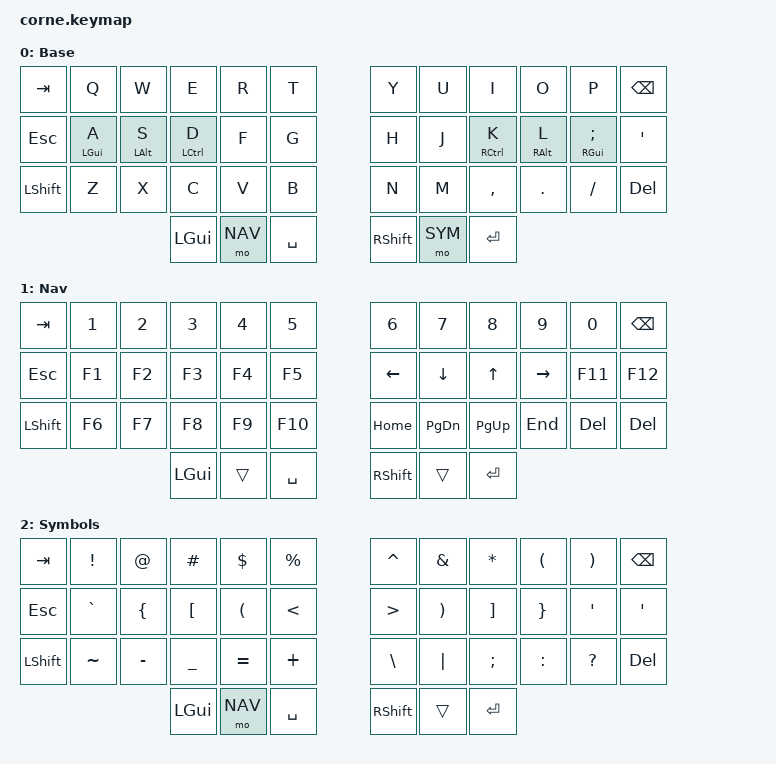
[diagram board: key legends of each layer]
/*
 * Copyright (c) 2020 The ZMK Contributors
 * SPDX-License-Identifier: MIT
 */

#include <behaviors.dtsi>
#include <dt-bindings/zmk/keys.h>
#include <dt-bindings/zmk/bt.h>

#define BASE 0
#define NAV  1
#define SYM  2

#define LEFT_HAND  0 1 2 3 4 5  12 13 14 15 16 17  24 25 26 27 28 29  36 37 38
#define RIGHT_HAND 6 7 8 9 10 11  18 19 20 21 22 23  30 31 32 33 34 35  39 40 41

/ {
        behaviors {
                hml: home_row_mod_left {
                        compatible = "zmk,behavior-hold-tap";
                        #binding-cells = <2>;
                        flavor = "balanced";
                        tapping-term-ms = <280>;
                        quick-tap-ms = <175>;
                        require-prior-idle-ms = <150>;
                        bindings = <&kp>, <&kp>;
                        hold-trigger-key-positions = <RIGHT_HAND>;
                        hold-trigger-on-release;
                        display-name = "Left Home Row Mod";
                };

                hmr: home_row_mod_right {
                        compatible = "zmk,behavior-hold-tap";
                        #binding-cells = <2>;
                        flavor = "balanced";
                        tapping-term-ms = <280>;
                        quick-tap-ms = <175>;
                        require-prior-idle-ms = <150>;
                        bindings = <&kp>, <&kp>;
                        hold-trigger-key-positions = <LEFT_HAND>;
                        hold-trigger-on-release;
                        display-name = "Right Home Row Mod";
                };
        };

        /*
         * NAV-only combos
         *
         * Bluetooth:
         *   1 + 2     -> Bluetooth profile 0
         *   2 + 3     -> Bluetooth profile 1
         *   3 + 4     -> Bluetooth profile 2
         *   4 + 5     -> Bluetooth profile 3
         *   6 + 7     -> Bluetooth profile 4
         *   8 + 9 + 0 -> Clear current Bluetooth profile
         *
         * Playback:
         *   H + J     -> Previous
         *   J + K     -> Play/Pause
         *   K + L     -> Next
         *
         * Media:
         *   N + M     -> Brightness Down
         *   M + ,     -> Volume Down
         *   , + .     -> Volume Up
         *   . + /     -> Brightness Up
         *   / + Del   -> Mute
         */
        combos {
                compatible = "zmk,combos";

                /*
                 * Bluetooth profiles
                 *
                 * These correspond to the physical top-row positions.
                 * Since they are limited to NAV, they trigger while the
                 * number row is active.
                 */

                combo_bt_0 {
                        timeout-ms = <50>;
                        key-positions = <1 2>;
                        layers = <NAV>;
                        bindings = <&bt BT_SEL 0>;
                };

                combo_bt_1 {
                        timeout-ms = <50>;
                        key-positions = <2 3>;
                        layers = <NAV>;
                        bindings = <&bt BT_SEL 1>;
                };

                combo_bt_2 {
                        timeout-ms = <50>;
                        key-positions = <3 4>;
                        layers = <NAV>;
                        bindings = <&bt BT_SEL 2>;
                };

                combo_bt_3 {
                        timeout-ms = <50>;
                        key-positions = <4 5>;
                        layers = <NAV>;
                        bindings = <&bt BT_SEL 3>;
                };

                combo_bt_4 {
                        timeout-ms = <50>;
                        key-positions = <6 7>;
                        layers = <NAV>;
                        bindings = <&bt BT_SEL 4>;
                };

                /*
                 * Intentionally requires three keys to make clearing
                 * a Bluetooth profile difficult to do accidentally.
                 */
                combo_bt_clear {
                        timeout-ms = <75>;
                        key-positions = <8 9 10>;
                        layers = <NAV>;
                        bindings = <&bt BT_CLR>;
                };


                /*
                 * Playback controls
                 *
                 * Physical H J K L positions on the right home row.
                 *
                 * NAV bindings:
                 * H = Left
                 * J = Down
                 * K = Up
                 * L = Right
                 */

                combo_previous {
                        timeout-ms = <50>;
                        key-positions = <18 19>;
                        layers = <NAV>;
                        bindings = <&kp C_PREV>;
                };

                combo_play_pause {
                        timeout-ms = <50>;
                        key-positions = <19 20>;
                        layers = <NAV>;
                        bindings = <&kp C_PP>;
                };

                combo_next {
                        timeout-ms = <50>;
                        key-positions = <20 21>;
                        layers = <NAV>;
                        bindings = <&kp C_NEXT>;
                };


                /*
                 * Volume / brightness controls
                 *
                 * Physical:
                 *
                 * N + M     = Brightness Down
                 * M + ,     = Volume Down
                 * , + .     = Volume Up
                 * . + /     = Brightness Up
                 * / + Del   = Mute
                 */

                combo_brightness_down {
                        timeout-ms = <50>;
                        key-positions = <30 31>;
                        layers = <NAV>;
                        bindings = <&kp C_BRI_DN>;
                };

                combo_volume_down {
                        timeout-ms = <50>;
                        key-positions = <31 32>;
                        layers = <NAV>;
                        bindings = <&kp C_VOL_DN>;
                };

                combo_volume_up {
                        timeout-ms = <50>;
                        key-positions = <32 33>;
                        layers = <NAV>;
                        bindings = <&kp C_VOL_UP>;
                };

                combo_brightness_up {
                        timeout-ms = <50>;
                        key-positions = <33 34>;
                        layers = <NAV>;
                        bindings = <&kp C_BRI_UP>;
                };

                combo_mute {
                        timeout-ms = <50>;
                        key-positions = <34 35>;
                        layers = <NAV>;
                        bindings = <&kp C_MUTE>;
                };
        };


        keymap {
                compatible = "zmk,keymap";

                /*
                 * ==========================================================
                 * BASE
                 * ==========================================================
                 *
                 * | TAB  Q     W     E      R T | Y U I     O     P     BSPC |
                 * | ESC  A/GUI S/ALT D/CTL  F G | H J K/CTL L/ALT ;/GUI '    |
                 * | SHFT Z     X     C      V B | N M ,     .     /     DEL  |
                 *                 | GUI NAV SPC | SHFT SYM ENT |
                 */

                base_layer {
                        display-name = "Base";

                        bindings = <
&kp TAB       &kp Q        &kp W       &kp E        &kp R        &kp T        &kp Y        &kp U        &kp I         &kp O         &kp P          &kp BSPC
&kp ESC       &hml LGUI A  &hml LALT S &hml LCTRL D &kp F        &kp G        &kp H        &kp J        &hmr RCTRL K  &hmr RALT L   &hmr RGUI SEMI &kp SQT
&kp LSHFT     &kp Z        &kp X       &kp C        &kp V        &kp B        &kp N        &kp M        &kp COMMA     &kp DOT       &kp FSLH       &kp DEL
                                                        &kp LGUI &mo NAV &kp SPACE   &kp RSHFT &mo SYM &kp RET
                        >;
                };


                /*
                 * ==========================================================
                 * NAV
                 * ==========================================================
                 *
                 * | TAB   1   2   3   4    5 | 6     7     8     9    0 BSPC |
                 * | ESC  F1  F2  F3  F4   F5 | LEFT DOWN  UP  RIGHT F11 F12  |
                 * | SHFT F6  F7  F8  F9  F10 | HOME PGDN PGUP END  DEL DEL   |
                 *                    | GUI NAV SPC | SHFT SYM ENT |
                 *
                 *
                 * NAV COMBOS
                 * ----------------------------------------------------------
                 *
                 * Bluetooth:
                 *
                 *  1 + 2       BT Profile 0
                 *  2 + 3       BT Profile 1
                 *  3 + 4       BT Profile 2
                 *  4 + 5       BT Profile 3
                 *  6 + 7       BT Profile 4
                 *  8 + 9 + 0   Clear current BT profile
                 *
                 *
                 * Playback:
                 *
                 *  H + J       Previous
                 *  J + K       Play / Pause
                 *  K + L       Next
                 *
                 *
                 * Media:
                 *
                 *  N + M       Brightness Down
                 *  M + ,       Volume Down
                 *  , + .       Volume Up
                 *  . + /       Brightness Up
                 *  / + Del     Mute
                 */

                nav_layer {
                        display-name = "Nav";

                        bindings = <
&kp TAB       &kp N1       &kp N2       &kp N3       &kp N4       &kp N5       &kp N6       &kp N7       &kp N8       &kp N9       &kp N0        &kp BSPC
&kp ESC       &kp F1       &kp F2       &kp F3       &kp F4       &kp F5       &kp LEFT     &kp DOWN     &kp UP       &kp RIGHT    &kp F11       &kp F12
&kp LSHFT     &kp F6       &kp F7       &kp F8       &kp F9       &kp F10      &kp HOME     &kp PG_DN    &kp PG_UP    &kp END      &kp DEL       &kp DEL
                                                        &kp LGUI &trans &kp SPACE   &kp RSHFT &trans &kp RET
                        >;
                };


                /*
                 * ==========================================================
                 * SYMBOLS
                 * ==========================================================
                 *
                 * | TAB  ! @ # $ % | ^ & * ( ) BSPC |
                 * | ESC  ` { [ ( < | > ) ] } ' '    |
                 * | SHFT ~ - _ = + | \ | ; : ? DEL  |
                 *       | GUI NAV SPC | SHFT SYM ENT |
                 */

                symbol_layer {
                        display-name = "Symbols";

                        bindings = <
&kp TAB       &kp EXCL      &kp AT        &kp HASH      &kp DLLR      &kp PRCNT     &kp CARET     &kp AMPS      &kp ASTRK     &kp LPAR      &kp RPAR      &kp BSPC
&kp ESC       &kp GRAVE     &kp LBRC      &kp LBKT      &kp LPAR      &kp LT        &kp GT        &kp RPAR      &kp RBKT      &kp RBRC      &kp SQT       &kp SQT
&kp LSHFT     &kp TILDE     &kp MINUS     &kp UNDER     &kp EQUAL     &kp PLUS      &kp BSLH      &kp PIPE      &kp SEMI      &kp COLON     &kp QMARK     &kp DEL
                                                          &kp LGUI &mo NAV &kp SPACE   &kp RSHFT &trans &kp RET
                        >;
                };
        };
};
